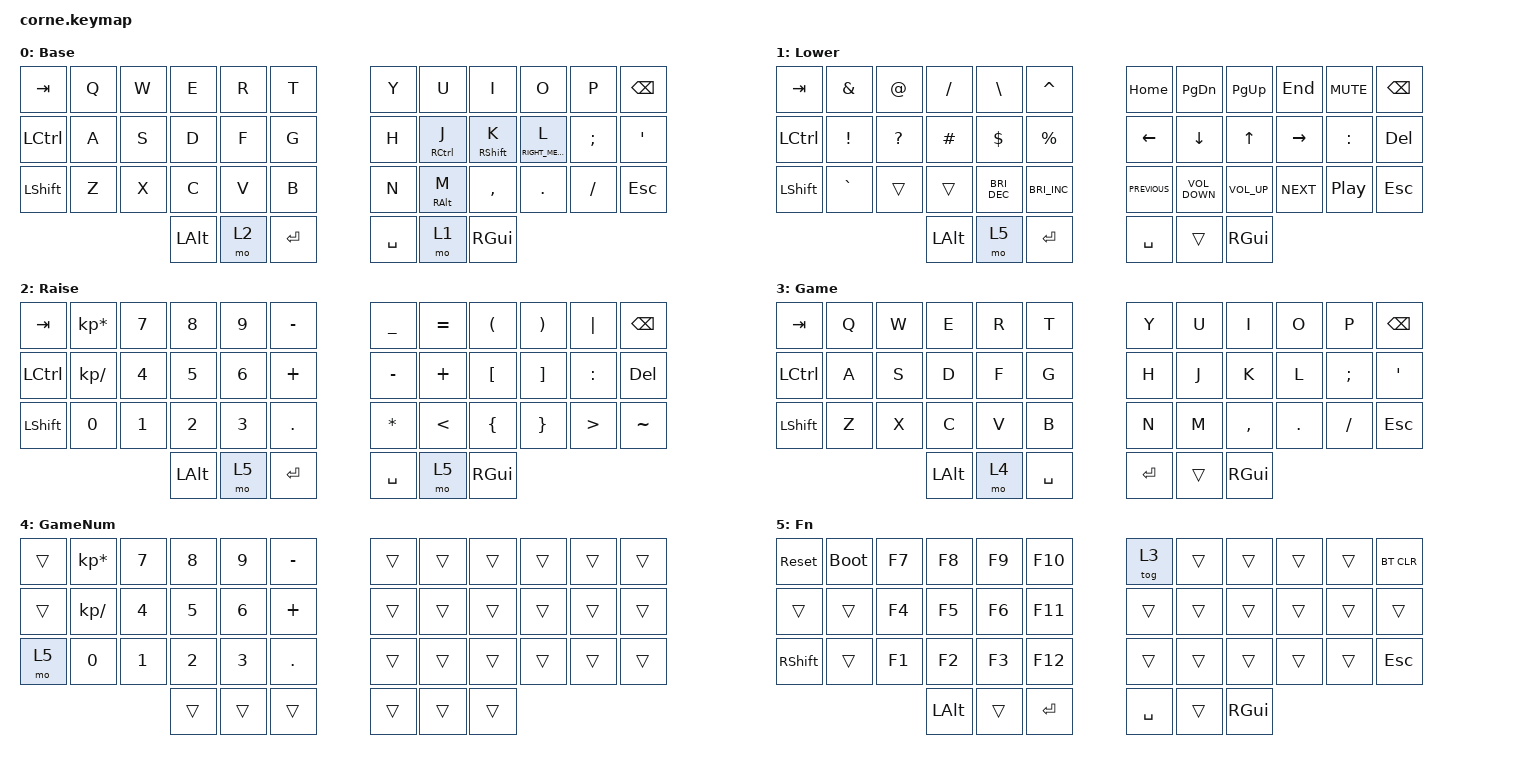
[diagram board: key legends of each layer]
/*
 * Copyright (c) 2020 The ZMK Contributors
 *
 * SPDX-License-Identifier: MIT
*/

#include <behaviors.dtsi>
#include <dt-bindings/zmk/bt.h>
#include <dt-bindings/zmk/keys.h>

/ {
    behaviors {
        hrm: hrm {
            compatible = "zmk,behavior-hold-tap";
            label = "Home Row Mods";
            bindings = <&kp>, <&kp>;

            #binding-cells = <2>;
            tapping-term-ms = <250>;
            flavor = "tap-preferred";
            hold-trigger-key-positions = <16 15 14 13 19 20 21 22>;
            quick-tap-ms = <250>;
            require-prior-idle-ms = <250>;
        };

        hrm_pinky: hrm_pinky {
            compatible = "zmk,behavior-hold-tap";
            label = "Home Row Mods (Pinky)";
            bindings = <&kp>, <&kp>;

            #binding-cells = <2>;
            tapping-term-ms = <300>;
            flavor = "tap-preferred";
            hold-trigger-key-positions = <16 15 14 13 19 20 21 22>;
            quick-tap-ms = <300>;
            require-prior-idle-ms = <300>;
        };
    };

    keymap {
        compatible = "zmk,keymap";

        default_layer {
            display-name = "Base";
            bindings = <
&kp TAB    &kp Q  &kp W             &kp E              &kp R            &kp T        &kp Y      &kp U             &kp I               &kp O              &kp P     &kp BSPC
&kp LCTRL  &kp A  &kp S             &kp D              &kp F            &kp G        &kp H      &hrm RCTRL J      &hrm RIGHT_SHIFT K  &hrm RIGHT_META L  &kp SEMI  &kp SQT
&kp LSHFT  &kp Z  &kp X             &kp C              &kp V            &kp B        &kp N      &hrm RIGHT_ALT M  &kp COMMA           &kp DOT            &kp FSLH  &kp ESC
                                    &kp LALT           &mo 2            &kp ENTER    &kp SPACE  &mo 1             &kp RIGHT_GUI
            >;
        };

        lower_layer {
            display-name = "Lower";
            bindings = <
&kp TAB    &kp AMPS         &kp AT        &kp SLASH  &kp BACKSLASH  &kp CARET               &kp HOME        &kp PAGE_DOWN      &kp PG_UP        &kp END     &kp C_MUTE        &kp BSPC
&kp LCTRL  &kp EXCLAMATION  &kp QUESTION  &kp HASH   &kp DOLLAR     &kp PERCENT             &kp LEFT        &kp DOWN           &kp UP           &kp RIGHT   &kp COLON         &kp DEL
&kp LSHFT  &kp GRAVE        &trans        &trans     &kp C_BRI_DEC  &kp C_BRIGHTNESS_INC    &kp C_PREVIOUS  &kp C_VOLUME_DOWN  &kp C_VOLUME_UP  &kp C_NEXT  &kp C_PLAY_PAUSE  &kp ESC
                                          &kp LALT   &mo 5          &kp ENTER               &kp SPACE       &trans             &kp RIGHT_GUI
            >;
        };

        raise_layer {
            display-name = "Raise";
            bindings = <
&kp TAB    &kp KP_MULTIPLY  &kp N7  &kp N8    &kp N9  &kp MINUS    &kp UNDER     &kp EQUAL      &kp LEFT_PARENTHESIS  &kp RIGHT_PARENTHESIS  &kp PIPE          &kp BSPC
&kp LCTRL  &kp KP_DIVIDE    &kp N4  &kp N5    &kp N6  &kp PLUS     &kp MINUS     &kp PLUS       &kp LBKT              &kp RBKT               &kp COLON         &kp DEL
&kp LSHFT  &kp N0           &kp N1  &kp N2    &kp N3  &kp DOT      &kp ASTERISK  &kp LESS_THAN  &kp LBRC              &kp RBRC               &kp GREATER_THAN  &kp TILDE
                                    &kp LALT  &mo 5   &kp ENTER    &kp SPACE     &mo 5          &kp RIGHT_GUI
            >;
        };

        // Toggled on/off with &tog 3 (Y key on the fn layer). Left hand is the
        // default layout with Space on the inner thumb and the game numpad on
        // the middle thumb. Right hand is spelled out as plain keys so that it
        // does not fall through to the home-row mods on the base layer. Enter
        // and Space swap sides. The right middle thumb is transparent, which
        // reaches &mo 1 on the base layer, but the lower layer (index 1) is
        // masked by this layer (index 3) so that key does nothing while gaming.
        gaming_layer {
            display-name = "Game";
            bindings = <
&kp TAB    &kp Q  &kp W  &kp E     &kp R  &kp T        &kp Y      &kp U      &kp I      &kp O    &kp P     &kp BSPC
&kp LCTRL  &kp A  &kp S  &kp D     &kp F  &kp G        &kp H      &kp J      &kp K      &kp L    &kp SEMI  &kp SQT
&kp LSHFT  &kp Z  &kp X  &kp C     &kp V  &kp B        &kp N      &kp M      &kp COMMA  &kp DOT  &kp FSLH  &kp ESC
                         &kp LALT  &mo 4  &kp SPACE    &kp ENTER  &trans     &kp RIGHT_GUI
            >;
        };

        // Held from the gaming layer's middle thumb. Same numpad shape as the
        // raise layer; the shift position holds the fn layer, which turns the
        // numpad into F-keys in the same columns.
        game_numpad_layer {
            display-name = "GameNum";
            bindings = <
&trans  &kp KP_MULTIPLY  &kp N7  &kp N8  &kp N9  &kp MINUS    &trans  &trans  &trans  &trans  &trans  &trans
&trans  &kp KP_DIVIDE    &kp N4  &kp N5  &kp N6  &kp PLUS     &trans  &trans  &trans  &trans  &trans  &trans
&mo 5   &kp N0           &kp N1  &kp N2  &kp N3  &kp DOT      &trans  &trans  &trans  &trans  &trans  &trans
                                 &trans  &trans  &trans       &trans  &trans  &trans
            >;
        };

        // Must stay the highest-index layer: it is reached while the gaming
        // and game-numpad layers are also active, and the highest index wins.
        fn_layer {
            display-name = "Fn";
            bindings = <
&sys_reset  &bootloader  &kp F7  &kp F8    &kp F9  &kp F10      &tog 3     &trans  &trans    &trans  &trans  &bt BT_CLR
&trans      &trans       &kp F4  &kp F5    &kp F6  &kp F11      &trans     &trans  &trans    &trans  &trans  &trans
&kp RSHFT   &trans       &kp F1  &kp F2    &kp F3  &kp F12      &trans     &trans  &trans    &trans  &trans  &kp ESC
                                 &kp LALT  &trans  &kp ENTER    &kp SPACE  &trans  &kp RGUI
            >;
        };
    };
};
